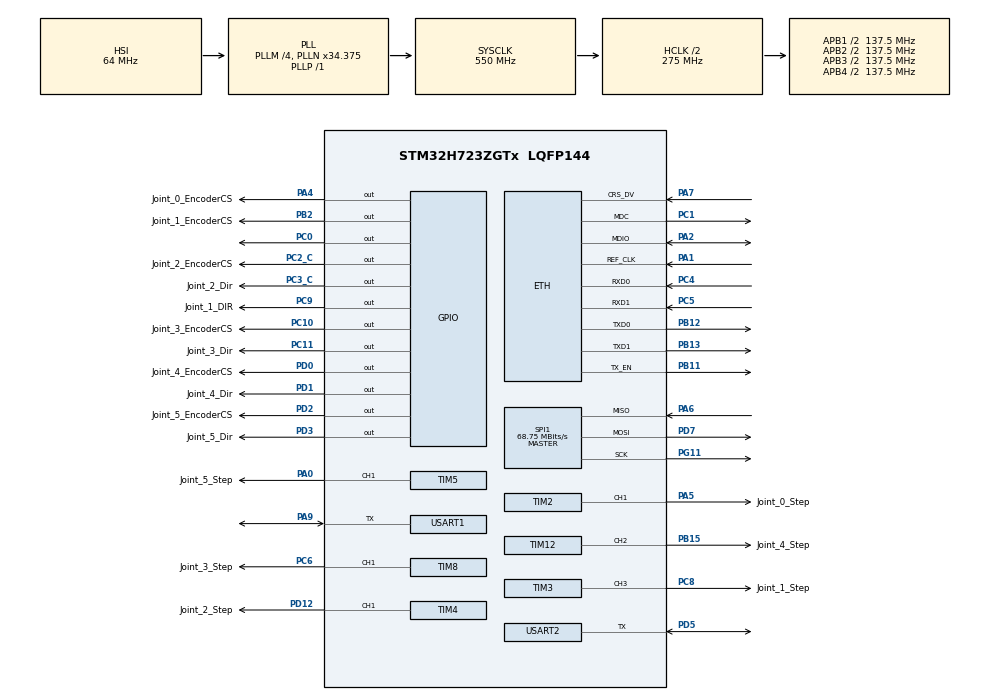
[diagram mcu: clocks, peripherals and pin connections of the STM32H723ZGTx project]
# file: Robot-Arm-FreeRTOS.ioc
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CORTEX_M7.AccessPermission_S-Cortex_Memory_Protection_Unit_Region1_Settings_S=MPU_REGION_FULL_ACCESS
CORTEX_M7.BaseAddress_S-Cortex_Memory_Protection_Unit_Region1_Settings_S=0x30000000
CORTEX_M7.DisableExec_S-Cortex_Memory_Protection_Unit_Region1_Settings_S=MPU_INSTRUCTION_ACCESS_DISABLE
CORTEX_M7.Enable_S-Cortex_Memory_Protection_Unit_Region1_Settings_S=MPU_REGION_ENABLE
CORTEX_M7.IsShareable_S-Cortex_Memory_Protection_Unit_Region1_Settings_S=MPU_ACCESS_SHAREABLE
CORTEX_M7.Size_S-Cortex_Memory_Protection_Unit_Region1_Settings_S=MPU_REGION_SIZE_512KB
CORTEX_M7.TypeExtField_S-Cortex_Memory_Protection_Unit_Region1_Settings_S=MPU_TEX_LEVEL1
CORTEX_M7.default_mode_Activation=1
ETH.MediaInterface=HAL_ETH_RMII_MODE
FREERTOS.Tasks01=defaultTask,24,3000,StartDefaultTask,Default,NULL,Dynamic,NULL,NULL;ControlLoop,48,512,StartControlLoopTask,Default,NULL,Static,ControlLoopBuffer,ControlLoopControlBlock;SafetyMonitor,40,256,StartSafetyTask,Default,NULL,Static,SafetyMonitorBuffer,SafetyMonitorControlBlock;MotionPlanner,32,1024,StartMotionPlannerTask,Default,NULL,Static,MotionPlannerBuffer,MotionPlannerControlBlock;ROS2,24,2048,StartRosTask,Default,NULL,Static,ROS2Buffer,ROS2ControlBlock;Diagnostics,8,512,StartDiagTask,Default,NULL,Static,DiagnosticsBuffer,DiagnosticsControlBlock;Homing,32,512,StartHomingTask,Default,NULL,Static,HomingBuffer,HomingControlBlock
FREERTOS.configTOTAL_HEAP_SIZE=64000
LWIP.BSP.number=1
LWIP.IP_ADDRESS=192.168.050.010
LWIP.LWIP_DHCP=0
LWIP.LWIP_SOCKET=1
LWIP.LWIP_SO_RCVTIMEO=1
LWIP.LWIP_SO_SNDTIMEO=0
LWIP.MEMP_NUM_UDP_PCB=15
LWIP.NETMASK_ADDRESS=255.255.255.000
LWIP.Version=v2.2.1_Cube
LWIP0.BSP.STBoard=false
LWIP0.BSP.api=BSP_COMPONENT_DRIVER
LWIP0.BSP.component=LAN8742
LWIP0.BSP.instance=LAN8742
LWIP0.BSP.name=Driver_PHY
LWIP0.BSP.semaphore=S_LAN8742
LWIP0.BSP.solution=LAN8742
Mcu.Family=STM32H7
Mcu.Name=STM32H723ZGTx
Mcu.Package=LQFP144
NUCLEO-H723ZG.BUTTON=1
NUCLEO-H723ZG.LD1=true
NUCLEO-H723ZG.LD2=true
NUCLEO-H723ZG.LD3=true
NUCLEO-H723ZG.VCP=true
NVIC.EXTI15_10_IRQn=true\:5\:0\:false\:false\:true\:true\:false\:true\:true
NVIC.PriorityGroup=NVIC_PRIORITYGROUP_4
NVIC.TIM1_UP_IRQn=true\:15\:0\:false\:false\:true\:false\:false\:true\:true
NVIC.TimeBase=TIM1_UP_IRQn
NVIC.TimeBaseIP=TIM1
PA0.GPIO_Label=Joint_5_Step
PA0.Signal=S_TIM5_CH1
PA1.Mode=RMII
PA1.Signal=ETH_REF_CLK
PA2.Mode=RMII
PA2.Signal=ETH_MDIO
PA4.GPIO_Label=Joint_0_EncoderCS
PA4.PinState=GPIO_PIN_SET
PA4.Signal=GPIO_Output
PA5.GPIO_Label=Joint_0_Step
PA5.Signal=S_TIM2_CH1_ETR
PA6.Mode=Full_Duplex_Master
PA6.Signal=SPI1_MISO
PA7.Mode=RMII
PA7.Signal=ETH_CRS_DV
PA9.GPIO_PuPd=GPIO_PULLUP
PA9.Mode=Half_duplex(single_wire_mode)
PA9.Signal=USART1_TX
PB11.Mode=RMII
PB11.Signal=ETH_TX_EN
PB12.Mode=RMII
PB12.Signal=ETH_TXD0
PB13.Mode=RMII
PB13.Signal=ETH_TXD1
PB15.GPIO_Label=Joint_4_Step
PB15.Signal=S_TIM12_CH2
PB2.GPIO_Label=Joint_1_EncoderCS
PB2.PinState=GPIO_PIN_SET
PB2.Signal=GPIO_Output
PC0.Signal=GPIO_Output
PC1.Mode=RMII
PC1.Signal=ETH_MDC
PC10.GPIO_Label=Joint_3_EncoderCS
PC10.PinState=GPIO_PIN_SET
PC10.Signal=GPIO_Output
PC11.GPIO_Label=Joint_3_Dir
PC11.Signal=GPIO_Output
PC2_C.GPIO_Label=Joint_2_EncoderCS
PC2_C.PinState=GPIO_PIN_SET
PC2_C.Signal=GPIO_Output
PC3_C.GPIO_Label=Joint_2_Dir
PC3_C.Signal=GPIO_Output
PC4.Mode=RMII
PC4.Signal=ETH_RXD0
PC5.Mode=RMII
PC5.Signal=ETH_RXD1
PC6.GPIO_Label=Joint_3_Step
PC6.Signal=S_TIM8_CH1
PC8.GPIO_Label=Joint_1_Step
PC8.Signal=S_TIM3_CH3
PC9.GPIO_Label=Joint_1_DIR
PC9.Signal=GPIO_Output
PD0.GPIO_Label=Joint_4_EncoderCS
PD0.PinState=GPIO_PIN_SET
PD0.Signal=GPIO_Output
PD1.GPIO_Label=Joint_4_Dir
PD1.Signal=GPIO_Output
PD12.GPIO_Label=Joint_2_Step
PD12.Signal=S_TIM4_CH1
PD2.GPIO_Label=Joint_5_EncoderCS
PD2.PinState=GPIO_PIN_SET
PD2.Signal=GPIO_Output
PD3.GPIO_Label=Joint_5_Dir
PD3.Signal=GPIO_Output
PD5.GPIO_PuPd=GPIO_PULLUP
PD5.Mode=Half_duplex(single_wire_mode)
PD5.Signal=USART2_TX
PD7.Mode=Full_Duplex_Master
PD7.Signal=SPI1_MOSI
PD8.Signal=USART3_TX
PD9.Signal=USART3_RX
PG11.Mode=Full_Duplex_Master
PG11.Signal=SPI1_SCK
ProjectManager.HeapSize=0x200
ProjectManager.StackSize=0x400
ProjectManager.TargetToolchain=Makefile
RCC.ADCFreq_Value=608000000
RCC.APB1Freq_Value=137500000
RCC.APB2Freq_Value=137500000
RCC.APB3Freq_Value=137500000
RCC.APB4Freq_Value=137500000
RCC.CortexFreq_Value=550000000
RCC.D1PPRE=RCC_APB3_DIV2
RCC.D2PPRE1=RCC_APB1_DIV2
RCC.D2PPRE2=RCC_APB2_DIV2
RCC.D3PPRE=RCC_APB4_DIV2
RCC.DIVM1=4
RCC.DIVM2=1
RCC.DIVN1=34
RCC.DIVN2=19
RCC.DIVP1=1
RCC.DIVQ1=4
RCC.HCLKFreq_Value=275000000
RCC.HPRE=RCC_HCLK_DIV2
RCC.HSE_VALUE=8000000
RCC.PLLFRACN=3072
RCC.SYSCLKFreq_VALUE=550000000
RCC.SYSCLKSource=RCC_SYSCLKSOURCE_PLLCLK
RCC.USBCLockSelection=RCC_USBCLKSOURCE_HSI48
RCC.USBFreq_Value=48000000
SH.S_TIM12_CH2.0=TIM12_CH2,PWM Generation2 CH2
SH.S_TIM2_CH1_ETR.0=TIM2_CH1,PWM Generation1 CH1
SH.S_TIM3_CH3.0=TIM3_CH3,PWM Generation3 CH3
SH.S_TIM4_CH1.0=TIM4_CH1,PWM Generation1 CH1
SH.S_TIM5_CH1.0=TIM5_CH1,PWM Generation1 CH1
SH.S_TIM8_CH1.0=TIM8_CH1,PWM Generation1 CH1
SPI1.CalculateBaudRate=68.75 MBits/s
SPI1.Direction=SPI_DIRECTION_2LINES
SPI1.Mode=SPI_MODE_MASTER
SPI1.VirtualType=VM_MASTER
TIM12.Channel-PWM\ Generation2\ CH2=TIM_CHANNEL_2
TIM12.Period=77
TIM12.Prescaler=274
TIM2.AutoReloadPreload=TIM_AUTORELOAD_PRELOAD_ENABLE
TIM2.Channel-PWM\ Generation1\ CH1=TIM_CHANNEL_1
TIM2.Period=25
TIM2.Prescaler=274
TIM3.Channel-PWM\ Generation3\ CH3=TIM_CHANNEL_3
TIM3.Period=77
TIM3.Prescaler=274
TIM4.Channel-PWM\ Generation1\ CH1=TIM_CHANNEL_1
TIM4.Period=77
TIM4.Prescaler=274
TIM5.Channel-PWM\ Generation1\ CH1=TIM_CHANNEL_1
TIM5.Period=77
TIM5.Prescaler=274
TIM8.Channel-PWM\ Generation1\ CH1=TIM_CHANNEL_1
TIM8.Period=77
TIM8.Prescaler=274
USART1.VirtualMode-Half_duplex(single_wire_mode)=VM_ASYNC
USART2.VirtualMode-Half_duplex(single_wire_mode)=VM_ASYNC
VP_FREERTOS_VS_CMSIS_V2.Mode=CMSIS_V2
VP_LWIP_VS_Enabled.Mode=Enabled
VP_MEMORYMAP_VS_MEMORYMAP.Mode=CurAppReg
VP_NUCLEO-H723ZG_VS_BSP_COMMON.Mode=COMMON
VP_SYS_VS_tim1.Mode=TIM1
VP_TIM12_VS_ClockSourceINT.Mode=Internal
VP_TIM2_VS_ClockSourceINT.Mode=Internal
VP_TIM3_VS_ClockSourceINT.Mode=Internal
VP_TIM4_VS_ClockSourceINT.Mode=Internal
VP_TIM5_VS_ClockSourceINT.Mode=Internal
VP_TIM8_VS_ClockSourceINT.Mode=Internal
board=NUCLEO-H723ZG

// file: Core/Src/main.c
/* USER CODE BEGIN Header */
/**
  ******************************************************************************
  * @file           : main.c
  * @brief          : Main program body
  ******************************************************************************
  * @attention
  *
  * Copyright (c) 2026 STMicroelectronics.
  * All rights reserved.
  *
  * This software is licensed under terms that can be found in the LICENSE file
  * in the root directory of this software component.
  * If no LICENSE file comes with this software, it is provided AS-IS.
  *
  ******************************************************************************
  */
/* USER CODE END Header */
#include "main.h"
#include "FreeRTOS.h"
#include "cmsis_os2.h"
#include "lwip.h"
#include "spi.h"
#include "tim.h"
#include "usart.h"
#include "gpio.h"

/* USER CODE BEGIN Includes */
#include "tmc2209_frame.h"
#include "tmc2209_uart.h"
#include "tmc2209_cfg.h"
/* USER CODE END Includes */

COM_InitTypeDef BspCOMInit;

/* USER CODE BEGIN PV */

volatile tmc_io_status_t last_status;   /* watch this in the debugger */
uint8_t tmc_req[4];
uint8_t tmc_reply[8];

tmc_dev_t d0;
volatile tmc_status_t cfg_status;
volatile tmc_status_t ver_status;

/* USER CODE END PV */

void SystemClock_Config(void);
static void MPU_Config(void);
void MX_FREERTOS_Init(void);

int main(void)
{

  /* MPU Configuration--------------------------------------------------------*/
  MPU_Config();

  /* MCU Configuration--------------------------------------------------------*/

  /* Reset of all peripherals, Initializes the Flash interface and the Systick. */
  HAL_Init();

  /* Configure the system clock */
  SystemClock_Config();

  /* Initialize all configured peripherals */
  MX_GPIO_Init();
  MX_TIM2_Init();
  MX_SPI1_Init();
  MX_TIM3_Init();
  MX_USART1_UART_Init();
  MX_TIM4_Init();
  MX_TIM5_Init();
  MX_TIM8_Init();
  MX_TIM12_Init();
  MX_USART2_UART_Init();
  /* USER CODE BEGIN 2 */
    tmc_dev_init(&d0, &huart1, 0);
  tmc_cfg_t cfg = tmc_cfg_default();
  cfg_status = tmc_configure(&d0, &cfg);      /* runs once; read this in the debugger */

  while (1)                                   /* keeps traffic on the wire for PulseView */
  {
    ver_status = tmc_check_version(&d0);
    HAL_Delay(100);
  }
  /* USER CODE END 2 */

  /* Init scheduler */
  osKernelInitialize();  /* Call init function for freertos objects (in cmsis_os2.c) */
  MX_FREERTOS_Init();

  /* Initialize leds */
  BSP_LED_Init(LED_GREEN);
  BSP_LED_Init(LED_YELLOW);
  BSP_LED_Init(LED_RED);

  /* Initialize USER push-button, will be used to trigger an interrupt each time it's pressed.*/
  BSP_PB_Init(BUTTON_USER, BUTTON_MODE_EXTI);

  /* Initialize COM1 port (115200, 8 bits (7-bit data + 1 stop bit), no parity */
  BspCOMInit.BaudRate   = 115200;
  BspCOMInit.WordLength = COM_WORDLENGTH_8B;
  BspCOMInit.StopBits   = COM_STOPBITS_1;
  BspCOMInit.Parity     = COM_PARITY_NONE;
  BspCOMInit.HwFlowCtl  = COM_HWCONTROL_NONE;
  if (BSP_COM_Init(COM1, &BspCOMInit) != BSP_ERROR_NONE)
  {
    Error_Handler();
  }

  /* Start scheduler */
  osKernelStart();

  /* We should never get here as control is now taken by the scheduler */

  /* Infinite loop */
  while (1)
  {

  }
}

void SystemClock_Config(void)
{
  RCC_OscInitTypeDef RCC_OscInitStruct = {0};
  RCC_ClkInitTypeDef RCC_ClkInitStruct = {0};

  /** Supply configuration update enable
  */
  HAL_PWREx_ConfigSupply(PWR_LDO_SUPPLY);

  /** Configure the main internal regulator output voltage
  */
  __HAL_PWR_VOLTAGESCALING_CONFIG(PWR_REGULATOR_VOLTAGE_SCALE0);

  while(!__HAL_PWR_GET_FLAG(PWR_FLAG_VOSRDY)) {}

  /** Initializes the RCC Oscillators according to the specified parameters
  * in the RCC_OscInitTypeDef structure.
  */
  RCC_OscInitStruct.OscillatorType = RCC_OSCILLATORTYPE_HSI;
  RCC_OscInitStruct.HSIState = RCC_HSI_DIV1;
  RCC_OscInitStruct.HSICalibrationValue = 64;
  RCC_OscInitStruct.PLL.PLLState = RCC_PLL_ON;
  RCC_OscInitStruct.PLL.PLLSource = RCC_PLLSOURCE_HSI;
  RCC_OscInitStruct.PLL.PLLM = 4;
  RCC_OscInitStruct.PLL.PLLN = 34;
  RCC_OscInitStruct.PLL.PLLP = 1;
  RCC_OscInitStruct.PLL.PLLQ = 4;
  RCC_OscInitStruct.PLL.PLLR = 2;
  RCC_OscInitStruct.PLL.PLLRGE = RCC_PLL1VCIRANGE_3;
  RCC_OscInitStruct.PLL.PLLVCOSEL = RCC_PLL1VCOWIDE;
  RCC_OscInitStruct.PLL.PLLFRACN = 3072;
  if (HAL_RCC_OscConfig(&RCC_OscInitStruct) != HAL_OK)
  {
    Error_Handler();
  }

  /** Initializes the CPU, AHB and APB buses clocks
  */
  RCC_ClkInitStruct.ClockType = RCC_CLOCKTYPE_HCLK|RCC_CLOCKTYPE_SYSCLK
                              |RCC_CLOCKTYPE_PCLK1|RCC_CLOCKTYPE_PCLK2
                              |RCC_CLOCKTYPE_D3PCLK1|RCC_CLOCKTYPE_D1PCLK1;
  RCC_ClkInitStruct.SYSCLKSource = RCC_SYSCLKSOURCE_PLLCLK;
  RCC_ClkInitStruct.SYSCLKDivider = RCC_SYSCLK_DIV1;
  RCC_ClkInitStruct.AHBCLKDivider = RCC_HCLK_DIV2;
  RCC_ClkInitStruct.APB3CLKDivider = RCC_APB3_DIV2;
  RCC_ClkInitStruct.APB1CLKDivider = RCC_APB1_DIV2;
  RCC_ClkInitStruct.APB2CLKDivider = RCC_APB2_DIV2;
  RCC_ClkInitStruct.APB4CLKDivider = RCC_APB4_DIV2;

  if (HAL_RCC_ClockConfig(&RCC_ClkInitStruct, FLASH_LATENCY_3) != HAL_OK)
  {
    Error_Handler();
  }
}

 /* MPU Configuration */

void MPU_Config(void)
{
  MPU_Region_InitTypeDef MPU_InitStruct = {0};

  /* Disables the MPU */
  HAL_MPU_Disable();

  /** Initializes and configures the Region and the memory to be protected
  */
  MPU_InitStruct.Enable = MPU_REGION_ENABLE;
  MPU_InitStruct.Number = MPU_REGION_NUMBER0;
  MPU_InitStruct.BaseAddress = 0x0;
  MPU_InitStruct.Size = MPU_REGION_SIZE_4GB;
  MPU_InitStruct.SubRegionDisable = 0x87;
  MPU_InitStruct.TypeExtField = MPU_TEX_LEVEL0;
  MPU_InitStruct.AccessPermission = MPU_REGION_NO_ACCESS;
  MPU_InitStruct.DisableExec = MPU_INSTRUCTION_ACCESS_DISABLE;
  MPU_InitStruct.IsShareable = MPU_ACCESS_SHAREABLE;
  MPU_InitStruct.IsCacheable = MPU_ACCESS_NOT_CACHEABLE;
  MPU_InitStruct.IsBufferable = MPU_ACCESS_NOT_BUFFERABLE;

  HAL_MPU_ConfigRegion(&MPU_InitStruct);

  /** Initializes and configures the Region and the memory to be protected
  */
  MPU_InitStruct.Number = MPU_REGION_NUMBER1;
  MPU_InitStruct.BaseAddress = 0x30000000;
  MPU_InitStruct.Size = MPU_REGION_SIZE_512KB;
  MPU_InitStruct.SubRegionDisable = 0x0;
  MPU_InitStruct.TypeExtField = MPU_TEX_LEVEL1;
  MPU_InitStruct.AccessPermission = MPU_REGION_FULL_ACCESS;

  HAL_MPU_ConfigRegion(&MPU_InitStruct);
  /* Enables the MPU */
  HAL_MPU_Enable(MPU_PRIVILEGED_DEFAULT);

}

void HAL_TIM_PeriodElapsedCallback(TIM_HandleTypeDef *htim)
{
  if (htim->Instance == TIM1)
  {
    HAL_IncTick();
  }
}

void Error_Handler(void)
{
  __disable_irq();
  while (1)
  {
  }
}

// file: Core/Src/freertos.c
/* USER CODE BEGIN Header */
/**
  ******************************************************************************
  * File Name          : freertos.c
  * Description        : Code for freertos applications
  ******************************************************************************
  * @attention
  *
  * Copyright (c) 2026 STMicroelectronics.
  * All rights reserved.
  *
  * This software is licensed under terms that can be found in the LICENSE file
  * in the root directory of this software component.
  * If no LICENSE file comes with this software, it is provided AS-IS.
  *
  ******************************************************************************
  */
/* USER CODE END Header */

#include "FreeRTOS.h"
#include "task.h"
#include "main.h"
#include "FreeRTOS.h"
#include "cmsis_os2.h"

/* USER CODE BEGIN Includes */
#include "robot_arm.h"
#include "ros_interface.h"
/* USER CODE END Includes */

typedef StaticTask_t osStaticThreadDef_t;

/* USER CODE BEGIN Variables */
RobotArm_t g_arm;
RosInterface_t g_ros;
/* USER CODE END Variables */
/* Definitions for defaultTask */
osThreadId_t defaultTaskHandle;
const osThreadAttr_t defaultTask_attributes = {
  .name = "defaultTask",
  .stack_size = 3000 * 4,
  .priority = (osPriority_t) osPriorityNormal,
};
/* Definitions for ControlLoop */
osThreadId_t ControlLoopHandle;
uint32_t ControlLoopBuffer[ 512 ];
osStaticThreadDef_t ControlLoopControlBlock;
const osThreadAttr_t ControlLoop_attributes = {
  .name = "ControlLoop",
  .cb_mem = &ControlLoopControlBlock,
  .cb_size = sizeof(ControlLoopControlBlock),
  .stack_mem = &ControlLoopBuffer[0],
  .stack_size = sizeof(ControlLoopBuffer),
  .priority = (osPriority_t) osPriorityRealtime,
};
/* Definitions for SafetyMonitor */
osThreadId_t SafetyMonitorHandle;
uint32_t SafetyMonitorBuffer[ 256 ];
osStaticThreadDef_t SafetyMonitorControlBlock;
const osThreadAttr_t SafetyMonitor_attributes = {
  .name = "SafetyMonitor",
  .cb_mem = &SafetyMonitorControlBlock,
  .cb_size = sizeof(SafetyMonitorControlBlock),
  .stack_mem = &SafetyMonitorBuffer[0],
  .stack_size = sizeof(SafetyMonitorBuffer),
  .priority = (osPriority_t) osPriorityHigh,
};
/* Definitions for MotionPlanner */
osThreadId_t MotionPlannerHandle;
uint32_t MotionPlannerBuffer[ 1024 ];
osStaticThreadDef_t MotionPlannerControlBlock;
const osThreadAttr_t MotionPlanner_attributes = {
  .name = "MotionPlanner",
  .cb_mem = &MotionPlannerControlBlock,
  .cb_size = sizeof(MotionPlannerControlBlock),
  .stack_mem = &MotionPlannerBuffer[0],
  .stack_size = sizeof(MotionPlannerBuffer),
  .priority = (osPriority_t) osPriorityAboveNormal,
};
/* Definitions for ROS2 */
osThreadId_t ROS2Handle;
uint32_t ROS2Buffer[ 2048 ];
osStaticThreadDef_t ROS2ControlBlock;
const osThreadAttr_t ROS2_attributes = {
  .name = "ROS2",
  .cb_mem = &ROS2ControlBlock,
  .cb_size = sizeof(ROS2ControlBlock),
  .stack_mem = &ROS2Buffer[0],
  .stack_size = sizeof(ROS2Buffer),
  .priority = (osPriority_t) osPriorityNormal,
};
/* Definitions for Diagnostics */
osThreadId_t DiagnosticsHandle;
uint32_t DiagnosticsBuffer[ 512 ];
osStaticThreadDef_t DiagnosticsControlBlock;
const osThreadAttr_t Diagnostics_attributes = {
  .name = "Diagnostics",
  .cb_mem = &DiagnosticsControlBlock,
  .cb_size = sizeof(DiagnosticsControlBlock),
  .stack_mem = &DiagnosticsBuffer[0],
  .stack_size = sizeof(DiagnosticsBuffer),
  .priority = (osPriority_t) osPriorityLow,
};
/* Definitions for Homing */
osThreadId_t HomingHandle;
uint32_t HomingBuffer[ 512 ];
osStaticThreadDef_t HomingControlBlock;
const osThreadAttr_t Homing_attributes = {
  .name = "Homing",
  .cb_mem = &HomingControlBlock,
  .cb_size = sizeof(HomingControlBlock),
  .stack_mem = &HomingBuffer[0],
  .stack_size = sizeof(HomingBuffer),
  .priority = (osPriority_t) osPriorityAboveNormal,
};

void StartDefaultTask(void *argument);
void StartControlLoopTask(void *argument);
void StartSafetyTask(void *argument);
void StartMotionPlannerTask(void *argument);
void StartRosTask(void *argument);
void StartDiagTask(void *argument);
void StartHomingTask(void *argument);

extern void MX_LWIP_Init(void);
void MX_FREERTOS_Init(void); /* (MISRA C 2004 rule 8.1) */

void MX_FREERTOS_Init(void) {

  /* Create the thread(s) */
  /* creation of defaultTask */
  defaultTaskHandle = osThreadNew(StartDefaultTask, NULL, &defaultTask_attributes);

  /* creation of ControlLoop */
  ControlLoopHandle = osThreadNew(StartControlLoopTask, NULL, &ControlLoop_attributes);

  /* creation of SafetyMonitor */
  SafetyMonitorHandle = osThreadNew(StartSafetyTask, NULL, &SafetyMonitor_attributes);

  /* creation of MotionPlanner */
  MotionPlannerHandle = osThreadNew(StartMotionPlannerTask, NULL, &MotionPlanner_attributes);

  /* creation of ROS2 */
  ROS2Handle = osThreadNew(StartRosTask, NULL, &ROS2_attributes);

  /* creation of Diagnostics */
  DiagnosticsHandle = osThreadNew(StartDiagTask, NULL, &Diagnostics_attributes);

  /* creation of Homing */
  HomingHandle = osThreadNew(StartHomingTask, NULL, &Homing_attributes);

}

void StartDefaultTask(void *argument)
{
  /* init code for LWIP */
  MX_LWIP_Init();
  for(;;)
  {
    osDelay(1);
  }
}

void StartControlLoopTask(void *argument)
{
  /* USER CODE BEGIN StartControlLoopTask */
  RobotArm_Init(&g_arm); // TODO: check return value once joints 2-5 are wired

  TickType_t lastWake = osKernelGetTickCount();
  const uint32_t period_ticks = 1; // 1ms -> 1kHz control loop

  for(;;)
  {
    RobotArm_Update(&g_arm, 0.001f);
    lastWake += period_ticks;
    osDelayUntil(lastWake);
  }
  /* USER CODE END StartControlLoopTask */
}

void StartSafetyTask(void *argument)
{
  for(;;)
  {
    osDelay(1);
  }
}

void StartMotionPlannerTask(void *argument)
{
  for(;;)
  {
    osDelay(1);
  }
}

void StartRosTask(void *argument)
{
  /* USER CODE BEGIN StartRosTask */
  if (RosInterface_Init(&g_ros, &g_arm)) {
      RosInterface_Task(NULL); // never returns - spins the executor forever
  }
  /* agent unreachable - park here rather than crash, so the rest of the
   * board (control loop, etc.) keeps running while you debug Ethernet */
  for(;;)
  {
    osDelay(1000);
  }
  /* USER CODE END StartRosTask */
}

void StartDiagTask(void *argument)
{
  for(;;)
  {
    osDelay(1);
  }
}

void StartHomingTask(void *argument)
{
  for(;;)
  {
    osDelay(1);
  }
}
